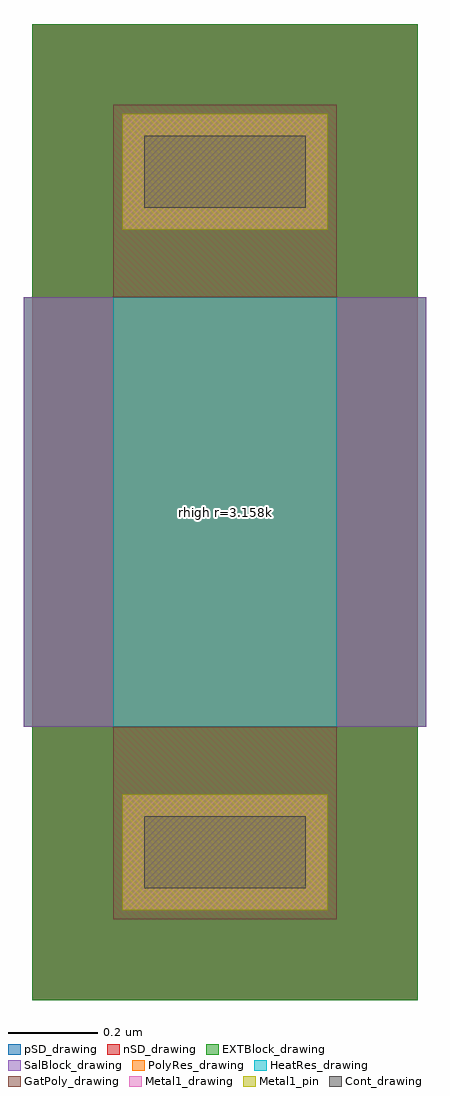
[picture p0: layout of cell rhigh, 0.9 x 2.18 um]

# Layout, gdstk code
import gdstk
lib = gdstk.Library(unit=1e-6, precision=1e-09)
def R(c, l, rs):  # rectangles x0, y0, x1, y1
    for r in rs: c.add(gdstk.rectangle(r[:2], r[2:], *l))
GatPoly_drawing = (5, 0)
Cont_drawing = (6, 0)
nSD_drawing = (7, 0)
Metal1_drawing = (8, 0)
Metal1_pin = (8, 2)
pSD_drawing = (14, 0)
SalBlock_drawing = (28, 0)
HeatRes_drawing = (52, 0)
EXTBlock_drawing = (111, 0)
PolyRes_drawing = (128, 0)

rhigh = lib.new_cell('rhigh')
R(rhigh, GatPoly_drawing, [(0,-0.43,0.5,0), (0,0.96,0.5,1.39)])
R(rhigh, Cont_drawing, [(0.07,-0.36,0.43,-0.2), (0.07,1.16,0.43,1.32)])
R(rhigh, nSD_drawing, [(-0.18,-0.61,0.68,0.18), (-0.18,0,0.68,0.96), (-0.18,0,0.68,0.96), (-0.18,0.78,0.68,1.57)])
R(rhigh, Metal1_drawing, [(0.02,-0.41,0.48,-0.15), (0.02,1.11,0.48,1.37)])
R(rhigh, Metal1_pin, [(0.02,-0.41,0.48,-0.15), (0.02,1.11,0.48,1.37)])
R(rhigh, pSD_drawing, [(-0.18,-0.61,0.68,0.18), (-0.18,0,0.68,0.96), (-0.18,0,0.68,0.96), (-0.18,0.78,0.68,1.57)])
R(rhigh, SalBlock_drawing, [(-0.2,0,0.7,0.96)])
R(rhigh, HeatRes_drawing, [(0,0,0.5,0.96)])
R(rhigh, EXTBlock_drawing, [(-0.18,-0.61,0.68,0.18), (-0.2,0,0.7,0.96), (-0.18,0.78,0.68,1.57)])
R(rhigh, PolyRes_drawing, [(0,0,0.5,0.96)])
rhigh.add(gdstk.Label('rhigh r=3.158k', (0.25,0.48), layer=63, texttype=0))
rhigh.add(gdstk.Label('rhigh', (0.25,0.48), layer=52, texttype=0))

lib.write_gds('rhigh.gds')
